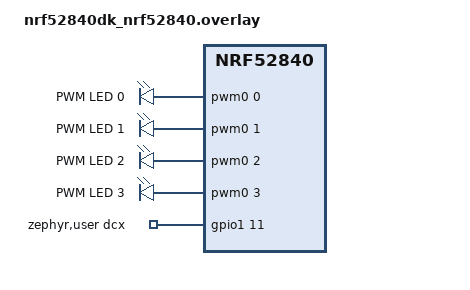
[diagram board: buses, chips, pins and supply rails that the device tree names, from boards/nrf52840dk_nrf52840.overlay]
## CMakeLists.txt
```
#-------------------------------------------------------------------------------
# Zephyr Example Application
#
# Copyright (c) 2021 Nordic Semiconductor ASA
# SPDX-License-Identifier: Apache-2.0

cmake_minimum_required(VERSION 3.13.1)
find_package(Zephyr REQUIRED HINTS $ENV{ZEPHYR_BASE})

project(app LANGUAGES C)

zephyr_include_directories(src)

target_sources(app PRIVATE src/main.c)
target_sources(app PRIVATE src/my_state_machine.c)
```

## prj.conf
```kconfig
# Copyright (c) 2021 Nordic Semiconductor ASA
# SPDX-License-Identifier: Apache-2.0
#
# This file contains selected Kconfig options for the application.

CONFIG_GPIO=y
CONFIG_PWM=y
CONFIG_SMF=y
CONFIG_SPI=y
CONFIG_I2C=y
CONFIG_ENTROPY_DEVICE_RANDOM_GENERATOR=y
CONFIG_TEST_RANDOM_GENERATOR=y
```

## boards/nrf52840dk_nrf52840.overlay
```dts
/ {
    pwmleds {
        compatible = "pwm-leds";
        pwm_led0: pwm_led_0 {
            pwms = <&pwm0 0 PWM_MSEC(20) PWM_POLARITY_NORMAL>;
            label = "PWM LED 0";
        };
        pwm_led1: pwm_led_1 {
            pwms = <&pwm0 1 PWM_MSEC(20) PWM_POLARITY_NORMAL>;
            label = "PWM LED 1";
        };
        pwm_led2: pwm_led_2 {
            pwms = <&pwm0 2 PWM_MSEC(20) PWM_POLARITY_NORMAL>;
            label = "PWM LED 2";
        };
        pwm_led3: pwm_led_3 {
            pwms = <&pwm0 3 PWM_MSEC(20) PWM_POLARITY_NORMAL>;
            label = "PWM LED 3";
        };
    };

    zephyr,user {
        dcx_gpios = <&gpio1 11 GPIO_ACTIVE_HIGH>;
    };
    
    arduino_spi {
        cs-gpios = <&gpio1 12 GPIO_ACTIVE_LOW>;
    };

    aliases {
        pwm-led0 = &pwm_led0;
        pwm-led1 = &pwm_led1;
        pwm-led2 = &pwm_led2;
        pwm-led3 = &pwm_led3;
    };
};

&pinctrl { 
    pwm0_default: pwm0_default {
		group1 {
			psels = 
                <NRF_PSEL(PWM_OUT0, 0, 13)>, 
                <NRF_PSEL(PWM_OUT1, 0, 14)>, 
                <NRF_PSEL(PWM_OUT2, 0, 15)>, 
                <NRF_PSEL(PWM_OUT3, 0, 16)>;
			nordic,invert;
		};
	};

    pwm0_sleep: pwm0_sleep {
		group1 {
			psels = 
                <NRF_PSEL(PWM_OUT0, 0, 13)>, 
                <NRF_PSEL(PWM_OUT1, 0, 14)>, 
                <NRF_PSEL(PWM_OUT2, 0, 15)>, 
                <NRF_PSEL(PWM_OUT3, 0, 16)>;
			low-power-enable;
		};
	};
};
```

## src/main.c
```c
#include <inttypes.h>

#include <zephyr/kernel.h>
#include <zephyr/device.h>
#include <zephyr/drivers/spi.h>
#include <zephyr/drivers/gpio.h>
#include <zephyr/sys/printk.h>
#include <zephyr/random/random.h>
#include <zephyr/drivers/i2c.h>


#include "BTN.h"
#include "LED.h"

#include <math.h>
#include "J_GL.h"
#include "J_ASSETS.h"
#include "J_SOJOURN_ASSETS.h"

#include "sojourn_os_smf.h"

#define SLEEP_MS 1

#define BOX_SIZE (uint16_t)20



// LOW_HEIGHT - MAX_HEIGHT - LOW_LENGTH - MAX_LENGTH
uint16_t bounds[4] = {0x0000,LCD_MAX_HEIGHT,0x0000,LCD_MAX_LENGTH};

const struct gpio_dt_spec dcx_gpio = GPIO_DT_SPEC_GET(ZEPHYR_USER_NODE,dcx_gpios);
const struct spi_cs_control cs_ctrl = (struct spi_cs_control) {
  .gpio = GPIO_DT_SPEC_GET(ARDUINO_SPI_NODE,cs_gpios),
  .delay = 0u,
};

const struct device * dev = DEVICE_DT_GET(ARDUINO_SPI_NODE);
#define ARDUINO_I2C_NODE DT_NODELABEL(arduino_i2c)
const struct device * dev_i2c = DEVICE_DT_GET(ARDUINO_I2C_NODE);
const struct spi_config spi_cfg = {
  .frequency = 15000000,
  .operation = SPI_OP_MODE_MASTER | SPI_WORD_SET(8) | SPI_TRANSFER_MSB,
  .slave = 0,
  .cs = cs_ctrl
};


int main(void) {
  if(0 > BTN_init())
    return 0;
  if(0 > LED_init())
    return 0;

  state_machine_init();

  while(1) {
    int ret = state_machine_run();
    // int ret = 0;
    if(0>ret) {
      printk("Error occured\n");
      return 0;
    }
    k_msleep(SLEEP_MS);
  }
  
  

  return 0;
}
```

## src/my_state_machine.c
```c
#include "my_state_machine.h"
#include <zephyr/smf.h>
#include "BTN.h"
#include "LED.h"

#define MAX_CHAR 50

// State Prototypes and Enums
static void s0_state_entry(void *o);
static enum smf_state_result s0_state_run(void *o);
static void s0_state_exit(void *o);
static void s1_state_entry(void *o);
static enum smf_state_result s1_state_run(void *o);
static void s1_state_exit(void *o);
static void s2_state_entry(void *o);
static enum smf_state_result s2_state_run(void *o);
static void s2_state_exit(void *o);

enum MACHINE_STATES {
    S0,
    S1,
    S2,
    S3,
    S4
};

// Struct object, holds static variables
typedef struct {
    struct smf_ctx ctx;
    uint8_t ubinary_code[8]; // Binary code per character
    char char_seq[MAX_CHAR]; // String of characters
    uint8_t char_index; // used to track where we are in the current sequence
    char cur_char;
} smf_obj_t;

// SMF States array
static const struct smf_state smf_states[] = {
    [S0] = SMF_CREATE_STATE(s0_state_entry,s0_state_run,s0_state_exit,NULL,NULL),
    [S1] = SMF_CREATE_STATE(s1_state_entry,s1_state_run,s1_state_exit,NULL,NULL),
    [S2] = SMF_CREATE_STATE(s2_state_entry,s2_state_run,s2_state_exit,NULL,NULL),
};

// -------- USEFUL FUNCTIONS --------

/// @brief Reset the binary array of an SMF_OBJ_T object.
/// @param obj The SMF_OBJ_T object you want to reset the binary array of.
void reset_ubinary(smf_obj_t *obj) {
    memset(obj->ubinary_code,0,8); // Set binary code to zeroes so far.
}
/// @brief Reset the char array of an SMF_OBJ_T object.
/// @param obj The SMF_OBJ_T object you want to reset the char array of.
void reset_char(smf_obj_t *obj) {
    memset(obj->char_seq,0,50); // Set binary code to zeroes so far.
    obj->char_index = 0;
}

/// @brief Converts a binary array of 1's and 0's into a character code
/// @param binary Binary array (Size MUST be 8 array elements).
/// @return character of the binary array provided.
char cnv_binary_char(const uint8_t* binary) {
    // Assuming the binary array is 8 bytes long.
    char result = 0;
    for(int i = 0; i < 8; i++) {
        result <<= 1;
        result += binary[i];
    }
    return result;
}



// ---------- LIGHT EFFECTS -------------

void light_fx(char id) {
    for(int i = 0; i < 2; i++) {
        LED_set(i,0);
    }
    switch(id) {
        case 0: // success
            LED_set(LED0,1);
            k_msleep(50);
            LED_set(LED1,1);
            k_msleep(100);
            LED_set(LED0,0);
            k_msleep(50);
            LED_set(LED1,0);
            k_msleep(50);
            LED_set(LED0,1);
            k_msleep(50);
            LED_set(LED1,1);
            k_msleep(100);
            LED_set(LED0,0);
            k_msleep(50);
            LED_set(LED1,0);
            break;
        case 1: // cool
            LED_set(LED0,1);
            k_msleep(100);
            LED_set(LED0,0);
            LED_set(LED1,1);
            k_msleep(100);
            LED_set(LED1,0);
            break;
        case 2: // confirmation
            LED_set(LED0,1);
            LED_set(LED1,1);
            k_msleep(100);
            LED_set(LED0,0);
            LED_set(LED1,0);
            break;
        case 3:

            break;
        default:
            printk("Invalid light_fx id: %d",id);
            break;
    }
}

//


static smf_obj_t smf_obj;

void state_machine_init() {
    reset_ubinary(&smf_obj);
    reset_char(&smf_obj);
    smf_obj.cur_char = 0;
    smf_set_initial(SMF_CTX(&smf_obj),&smf_states[S0]);
}

int state_machine_run() {
    return smf_run_state(SMF_CTX(&smf_obj));
}


/*
 * S0: Enter/Save/Reset Char Code
 */

static void s0_state_entry(void* o) {
    printk("Entering 8-bit ASCII sequence...\n");
    LED_blink(LED2,LED_1HZ);
}

static enum smf_state_result s0_state_run(void* o) {
    int i = 0;
    while(i < 8) {
        if(BTN_check_clear_pressed(BTN0)) { // Set 1 bit
            smf_obj.ubinary_code[i] = 1;
            light_fx(2);
            i++;
        } else if(BTN_check_clear_pressed(BTN1)) { // Set 0 bit
            smf_obj.ubinary_code[i] = 0;
            light_fx(2);
            i++;
        } else if(BTN_check_clear_pressed(BTN2)) { // clear
            reset_ubinary(&smf_obj);
            reset_char(&smf_obj);
            i = 0;
            printk("Cleared binary buffer...\n");
            light_fx(2);
        } else if(BTN_check_clear_pressed(BTN3)) { // write character
            if(smf_obj.char_index != MAX_CHAR) {
                smf_obj.char_seq[smf_obj.char_index++] = smf_obj.cur_char;
            }
            light_fx(1);
            smf_set_state(SMF_CTX(&smf_obj),&smf_states[S1]);
            return SMF_EVENT_HANDLED; // Important since in loop.
        }
        k_msleep(1);
    }
    smf_obj.cur_char = cnv_binary_char(smf_obj.ubinary_code);
    
    printk("Current Character | [%c]\n",smf_obj.cur_char);

    k_msleep(500);
    light_fx(0);
    return SMF_EVENT_HANDLED;
}

static void s0_state_exit(void* o) {
    printk("Saving character %c...\n",smf_obj.cur_char);
}

/*
* S1: Edit string
*/

static void s1_state_entry(void* o) {
    LED_blink(LED2,LED_4HZ);
}

static enum smf_state_result s1_state_run(void* o) {
    if(BTN_check_clear_pressed(BTN0) || BTN_check_clear_pressed(BTN1)) {
        light_fx(2);
        smf_set_state(SMF_CTX(&smf_obj),&smf_states[S0]);
    } else if (BTN_check_clear_pressed(BTN2)) { // Clear string
        reset_char(&smf_obj);
        reset_ubinary(&smf_obj);
        printk("Clearing string...\n");
        smf_set_state(SMF_CTX(&smf_obj),&smf_states[S0]);
    } else if(BTN_check_clear_pressed(BTN3)) { // Save string
        light_fx(2);
        smf_set_state(SMF_CTX(&smf_obj),&smf_states[S2]);
    }
    k_msleep(1);
    return SMF_EVENT_HANDLED;
}

static void s1_state_exit(void* o) {
}

/*
*   S2: View string
*/

static void s2_state_entry(void* o) {
    printk("Saving string...\n");
    LED_blink(LED2,LED_16HZ);
}

static enum smf_state_result s2_state_run(void* o) {
    if(BTN_check_clear_pressed(BTN0) || BTN_check_clear_pressed(BTN1)) {
        light_fx(2);
        smf_set_state(SMF_CTX(&smf_obj),&smf_states[S0]);
        return SMF_EVENT_HANDLED;
    } else if (BTN_check_clear_pressed(BTN2)) { // Clear string
        reset_char(&smf_obj);
        reset_ubinary(&smf_obj);
        printk("Clearing string...\n");
        smf_set_state(SMF_CTX(&smf_obj),&smf_states[S0]);
        return SMF_EVENT_HANDLED;
    } else if(BTN_check_clear_pressed(BTN3)) { // Print string
        light_fx(2);
        printk("%s\n",smf_obj.char_seq);
    }
    k_msleep(1);
    return SMF_EVENT_HANDLED;
}

static void s2_state_exit(void* o) {
}
```

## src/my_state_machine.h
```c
#ifndef STATE_MACHINE
#define STATE_MACHINE

void state_machine_init();

int state_machine_run();

#endif
```

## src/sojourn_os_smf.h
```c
#ifndef SOJOURN_OS
#define SOJOURN_OS
#include <zephyr/smf.h>
#include <zephyr/kernel.h>
#include <zephyr/device.h>
#include <zephyr/drivers/spi.h>
#include <zephyr/drivers/gpio.h>
#include <zephyr/sys/printk.h>
#include <zephyr/random/random.h>
#include <zephyr/drivers/i2c.h>
#include "J_GL.h"
#include "J_ASSETS.h"
#include "J_SOJOURN_ASSETS.h"
#include <stdio.h>


#include "LED.h"

void state_machine_init();

int state_machine_run();

typedef enum {
  VOID = 0,
  DIAMOND,
  AMETHYST,
  DUST
} sos_themes;

/*----------------------------------------------------------
                    Function Prototypes
----------------------------------------------------------*/
static void home_screen_state_entry(void* o);
static enum smf_state_result home_screen_state_run(void* o);
static void home_screen_state_exit(void* o);

static void about_page_state_entry(void* o);
static enum smf_state_result about_page_state_run(void* o);
static void about_page_state_exit(void* o);

static void lock_screen_state_entry(void* o);
static enum smf_state_result lock_screen_state_run(void* o);
static void lock_screen_state_exit(void* o);


static void snake_game_state_entry(void* o);
static enum smf_state_result snake_game_state_run(void* o);
static void snake_game_state_exit(void* o);

static void snake_reset_state_entry(void* o);
static enum smf_state_result snake_reset_state_run(void* o);
static void snake_reset_state_exit(void* o);

static void start_up_state_entry(void* o);
static enum smf_state_result start_up_state_run(void* o);
static void start_up_state_exit(void* o);

static void shut_down_state_entry(void* o);
static enum smf_state_result shut_down_state_run(void* o);
static void shut_down_state_exit(void* o);

static void theme_page_state_entry(void* o);
static enum smf_state_result theme_page_state_run(void* o);
static void theme_page_state_exit(void* o);
/*----------------------------------------------------------
                Component Style Defines
----------------------------------------------------------*/

#define J_STYLE_COL ctx->global_col
#define J_STYLE_BG_COL ctx->global_bg_col
#define J_STYLE_ACCENT_COL ctx->global_accent_col
#define J_STYLE_ERROR_COL ctx->error_col
#define J_STYLE_CONFIRM_COL ctx->confirm_col

#define J_STYLE_BUTTON_DECAL(j_color_pick, j_color_bg_pick, j_decal_data, x_len, y_len) (j_button_data){.bg_col = j_color_bg_pick, .col = j_color_pick, .border_col = j_color_pick, .border_width = 0, .decal_dat = j_decal_data, .font_size = FONT_SMALL, .height = x_len, .length = y_len, .pressed_status = 0, .tag = 0}
#define J_STYLE_BUTTON_STATUS_MESSAGE (j_button_data){.bg_col = ctx->global_bg_col, .col = ctx->global_col, .border_col = ctx->global_accent_col, .border_width = 2, .decal_dat = NULL, .font_size = FONT_MEDIUM, .height = 50, .length = 200, .pressed_status = 0, .tag = 0}
#define J_STYLE_BUTTON_CTX_MENU(n) (j_button_data){.bg_col = ctx->global_bg_col, .col = ctx->global_bg_col, .border_col = ctx->global_accent_col, .border_width = 2, .decal_dat = NULL, .font_size = FONT_MEDIUM, .height = 50*n, .length = 175, .pressed_status = 0, .tag = 0}
#define J_STYLE_BUTTON_SQUARE_SMALL(j_decal_data, j_font_size) (j_button_data){.bg_col = ctx->global_col, .col = ctx->global_bg_col, .border_col = ctx->global_accent_col, .font_size = j_font_size, .height = 35, .length = 35, .pressed_status = 0, .decal_dat = j_decal_data, .border_width = 2, .tag = 0}
#define J_STYLE_BUTTON_SQUARE_MEDIUM(j_decal_data, j_font_size) (j_button_data){.bg_col = ctx->global_col, .col = ctx->global_bg_col, .border_col = ctx->global_accent_col, .font_size = j_font_size, .height = 44, .length = 44, .pressed_status = 0, .decal_dat = j_decal_data, .border_width = 2, .tag = 0}

#define J_STYLE_DECAL_DEFAULT (j_decal_data){.animation_dat = NULL, .bg_col = ctx->global_bg_col, .col = ctx->global_col};
#define J_STYLE_DECAL_DEFAULT_INVERTED (j_decal_data){.animation_dat = NULL, .bg_col = ctx->global_col, .col = ctx->global_bg_col};

#define J_STYLE_TEXT_DEFAULT(j_centering, j_font_size) (j_text_data){.bg_col = ctx->global_bg_col, .col = ctx->global_accent_col, .centering = j_centering, .font_size = j_font_size};
#define J_STYLE_TEXT_DEFAULT_COLOR(j_centering, j_font_size, j_color_pick) (j_text_data){.bg_col = ctx->global_bg_col, .col = j_color_pick, .centering = j_centering, .font_size = j_font_size};
/*----------------------------------------------------------
                Sojourn OS Page Contexts
----------------------------------------------------------*/
typedef struct {
  j_button_data button_dat_1;
  j_decal_data decal_dat;
  j_text_data text_dat;
} os_about_page_ctx;

typedef struct {
  j_button_data button_dat_1, button_dat_2;
  j_decal_data banner_decal_dat;
  j_button_data app1, app2, app3;
  j_button_data ctx_menu_dat, ctx_menu_button_dat;
  j_shape_data shape_dat;
  j_animation_data shape_anim_dat;
  bool ctx_pressed;
  uint8_t ctx_offset; // For ctx button tracking
  j_component *ctx_button1, *ctx_button2, *ctx_menu_background, *shape;

} os_home_screen_ctx;

typedef struct {
  j_button_data button_dat, button_dat_2;

  j_button_data message_dat;
  j_component* message_comp_ptr;
  char* message_str[30];

  j_shape_data shape_dat;
  j_decal_data decal_dat;
  j_text_data text_dat;
  uint8_t cur_number_index;
  j_component *shape, *text1, *text2;
} os_lock_screen_ctx;

typedef enum {
  SG_NONE = 0,
  SG_LEFT,
  SG_RIGHT,
  SG_UP,
  SG_DOWN
} sg_directions;

typedef enum {
  SG_NFILL = 0,
  SG_FILL,
  SG_FOOD
} sg_tile;

typedef struct {
  // Game related variables
  uint8_t game_array[100]; // Array showing where the current snake is
  uint8_t dir_array[100]; // Stores the directions taken by user so that the program can follow
  uint8_t cur_x, cur_y, cur_xf, cur_yf, snake_len, cur_dir_index, pellet_amt;
  sg_directions next_dir, cur_dir, dir_global;
  bool pellet_flag, cover_flag;
  int pellet_timer; // Used to spawn pellets in the game periodically
  uint32_t user_score;
  char user_score_str[20];
  uint8_t temp_pellet_x, temp_pellet_y;

  // Visual variables
  uint16_t DELAY_PER_CPU_CYCLE;
  uint8_t x_board_offset, y_board_offset;
  j_decal_data bg_decal_dat1, bg_decal_dat2, pellet_decal_dat;
  j_text_data score_text_dat, announce_text_dat;
  j_button_data button_decal_dat, button_decal_left_dat, button_decal_right_dat, button_decal_up_dat, button_decal_down_dat, announce_button_dat, announce_bg_dat;
  j_component *bg_comp_dat, *snake_shape_comp_dat, *snake_eyes_comp_dat, *button_comp_left, *button_comp_right, *button_comp_up, *button_comp_down, *pellet_comp_dat, *announce_but_comp_dat1, *announce_but_comp_dat2, *score_text_comp_dat, *announce_bg_comp_dat;
  j_shape_data shape_dat, shape_dat2;
} os_snake_game_ctx;

typedef struct {
  j_animation_data anim_dat;
  j_decal_data logo_decal_dat;
  j_text_data text_dat;
  j_bar_data bar_dat;
  uint8_t bar_val, start_count; // Start count is a variable for switching text in the loading screen
  j_component *bg_comp_dat, *logo_comp_dat, *text_comp_dat, *loading_bar_comp_dat;
} os_start_up_ctx;

typedef struct {
  j_text_data text_dat;
  j_component *text_comp_dat, *bg_comp_dat;
} os_shut_down_ctx;

typedef struct {
  uint8_t num_buttons; // keep track in the code
  j_text_data text_dat1, text_dat2;
  j_button_data back_button_dat;
  j_button_data button_dats[4];
  j_component *button_components[5]; // 4 buttons + 1 back button
  j_component *text_comp_dat, *bg_comp_dat;
} os_theme_page_ctx;
/*----------------------------------------------------------
            Sojourn OS Context Structs / Enums
----------------------------------------------------------*/
typedef enum {
  HOME_SCREEN = 0,
  ABOUT_PAGE,
  LOCK_SCREEN,
  THEME_PAGE,
  SHUT_DOWN,
  RESTART,
  SNAKE_GAME,
  SNAKE_RESET,
  START_UP
} sos_smf_states;

typedef union {
  os_about_page_ctx about_page_dat;
  os_lock_screen_ctx lock_screen_dat;
  os_home_screen_ctx home_screen_dat;
  os_snake_game_ctx snake_game_dat;
  os_start_up_ctx start_up_dat;
  os_shut_down_ctx shut_down_dat;
  os_theme_page_ctx theme_page_dat;
} page_ctx;

typedef struct {
  struct smf_ctx ctx;
  j_color global_col, global_bg_col, global_accent_col, error_col, confirm_col; // Theme colors
  page_ctx page_dat;
  uint8_t os_flags; // From MSB to LSB: first_time_setup,
  uint8_t password[6];
} os_state_ctx;

void set_theme(sos_themes theme);

#endif
```
